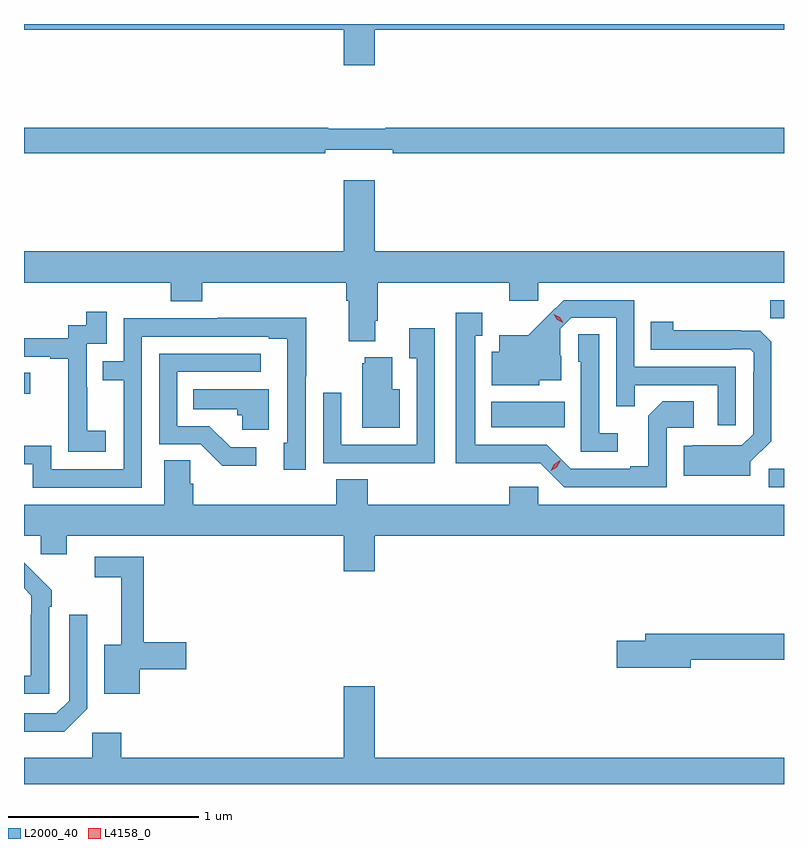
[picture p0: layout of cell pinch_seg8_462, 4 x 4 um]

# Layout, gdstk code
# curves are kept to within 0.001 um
import gdstk
lib = gdstk.Library(unit=1e-6, precision=1e-09)
def R(c, l, rs):  # rectangles x0, y0, x1, y1
    for r in rs: c.add(gdstk.rectangle(r[:2], r[2:], *l))
def P(c, l, *ps):  # polygons
    for p in ps: c.add(gdstk.Polygon(p, *l))
L2000_40 = (2000, 40)
L4158_0 = (4158, 0)

pinch_seg8_462 = lib.new_cell('pinch_seg8_462')
R(pinch_seg8_462, L2000_40, [(119.295,1134.072,119.374,1134.168), (117.833,1134.386,118.22,1134.52), (115.374,1134.563,115.408,1134.673), (119.302,1134.961,119.374,1135.056)])
P(pinch_seg8_462, L2000_40, [(117.22,1136.48),(119.374,1136.48),(119.374,1136.509),(115.374,1136.509),(115.374,1136.48),(117.056,1136.48),(117.056,1136.292),(117.22,1136.292)],
  [(116.96,1135.847),(117.316,1135.847),(117.316,1135.828),(119.374,1135.828),(119.374,1135.964),(117.275,1135.964),(117.275,1135.957),(116.975,1135.957),(116.975,1135.964),(115.374,1135.964),(115.374,1135.828),(116.96,1135.828)],
  [(117.223,1134.946),(117.236,1134.946),(117.236,1135.148),(117.929,1135.148),(117.929,1135.053),(118.08,1135.053),(118.08,1135.148),(119.374,1135.148),(119.374,1135.312),(117.22,1135.312),(117.22,1135.687),(117.056,1135.687),(117.056,1135.312),(115.374,1135.312),(115.374,1135.148),(116.147,1135.148),(116.147,1135.049),(116.312,1135.049),(116.312,1135.148),(117.071,1135.148),(117.071,1135.052),(117.083,1135.052),(117.083,1134.839),(117.223,1134.839)],
  [(119.121,1134.705),(118.587,1134.705),(118.587,1135.056),(118.214,1135.056),(118.027,1134.871),(117.875,1134.871),(117.875,1134.784),(117.836,1134.784),(117.836,1134.608),(118.086,1134.608),(118.086,1134.635),(118.201,1134.635),(118.201,1134.764),(118.197,1134.764),(118.197,1134.906),(118.254,1134.963),(118.491,1134.963),(118.491,1134.496),(118.589,1134.496),(118.589,1134.609),(119.025,1134.609),(119.025,1134.396),(119.121,1134.396)],
  [(115.804,1134.367),(115.706,1134.367),(115.706,1134.596),(115.704,1134.596),(115.704,1134.825),(115.809,1134.825),(115.809,1134.994),(115.701,1134.994),(115.701,1134.924),(115.608,1134.924),(115.608,1134.855),(115.374,1134.855),(115.374,1134.759),(115.511,1134.759),(115.511,1134.747),(115.607,1134.747),(115.607,1134.463),(115.606,1134.463),(115.606,1134.257),(115.804,1134.257)],
  [(118.758,1134.384),(118.9,1134.384),(118.9,1134.524),(118.735,1134.524),(118.659,1134.448),(118.659,1134.181),(118.565,1134.181),(118.565,1134.168),(118.251,1134.168),(118.125,1134.294),(117.748,1134.294),(117.748,1134.867),(117.787,1134.867),(117.787,1134.988),(117.647,1134.988),(117.647,1134.197),(118.092,1134.198),(118.218,1134.072),(118.758,1134.072)],
  [(115.995,1134.864),(116.663,1134.864),(116.663,1134.852),(116.76,1134.852),(116.76,1134.306),(116.741,1134.306),(116.741,1134.162),(116.856,1134.162),(116.856,1134.655),(116.859,1134.655),(116.859,1134.962),(116.395,1134.962),(116.395,1134.96),(115.899,1134.96),(115.899,1134.735),(115.789,1134.735),(115.789,1134.634),(115.899,1134.634),(115.899,1134.165),(115.518,1134.165),(115.518,1134.288),(115.374,1134.288),(115.374,1134.192),(115.421,1134.192),(115.421,1134.069),(115.995,1134.069)],
  [(119.197,1134.204),(119.307,1134.314),(119.307,1134.836),(119.248,1134.895),(118.791,1134.896),(118.791,1134.943),(118.672,1134.943),(118.672,1134.795),(119.096,1134.795),(119.096,1134.798),(119.196,1134.798),(119.214,1134.78),(119.214,1134.68),(119.211,1134.68),(119.211,1134.351),(119.151,1134.291),(118.894,1134.292),(118.891,1134.289),(118.847,1134.289),(118.847,1134.131),(119.197,1134.131)],
  [(117.537,1134.907),(117.401,1134.907),(117.401,1134.751),(117.441,1134.751),(117.441,1134.294),(117.045,1134.294),(117.045,1134.568),(116.949,1134.568),(116.949,1134.198),(117.265,1134.198),(117.265,1134.197),(117.537,1134.197)],
  [(118.498,1134.355),(118.401,1134.355),(118.401,1134.875),(118.29,1134.875),(118.29,1134.732),(118.305,1134.732),(118.305,1134.258),(118.498,1134.258)],
  [(116.596,1134.282),(116.461,1134.282),(116.35,1134.393),(116.181,1134.393),(116.181,1134.678),(116.62,1134.678),(116.62,1134.774),(116.085,1134.774),(116.085,1134.297),(116.304,1134.297),(116.417,1134.185),(116.596,1134.185)],
  [(117.352,1134.586),(117.313,1134.586),(117.313,1134.754),(117.167,1134.754),(117.167,1134.723),(117.155,1134.723),(117.155,1134.383),(117.352,1134.383)],
  [(116.662,1134.586),(116.266,1134.586),(116.266,1134.482),(116.497,1134.482),(116.497,1134.45),(116.523,1134.45),(116.523,1134.374),(116.662,1134.374)],
  [(117.22,1133.816),(119.374,1133.816),(119.374,1133.98),(118.08,1133.98),(118.08,1134.073),(117.929,1134.073),(117.929,1133.98),(117.182,1133.98),(117.182,1134.113),(117.017,1134.113),(117.017,1133.98),(116.264,1133.98),(116.264,1134.089),(116.25,1134.089),(116.25,1134.212),(116.111,1134.212),(116.111,1133.98),(115.374,1133.98),(115.374,1133.816),(115.461,1133.816),(115.461,1133.718),(115.6,1133.718),(115.6,1133.816),(117.056,1133.816),(117.056,1133.628),(117.22,1133.628)],
  [(115.984,1133.113),(116.227,1133.113),(116.227,1133.255),(116.003,1133.255),(116.003,1133.706),(115.746,1133.706),(115.746,1133.598),(115.886,1133.598),(115.886,1133.242),(115.796,1133.242),(115.796,1132.985),(115.984,1132.985)],
  [(115.506,1133.441),(115.521,1133.441),(115.521,1133.529),(115.416,1133.634),(115.415,1133.633),(115.374,1133.674),(115.374,1133.538),(115.413,1133.499),(115.413,1133.399),(115.41,1133.399),(115.41,1133.079),(115.374,1133.079),(115.374,1132.983),(115.506,1132.983)],
  [(115.707,1132.905),(115.707,1133.401),(115.611,1133.401),(115.611,1132.947),(115.545,1132.881),(115.374,1132.881),(115.374,1132.784),(115.586,1132.784)],
  [(118.882,1133.164),(119.374,1133.164),(119.374,1133.3),(118.643,1133.3),(118.643,1133.264),(118.494,1133.264),(118.494,1133.122),(118.882,1133.122)],
  [(119.374,1132.648),(117.22,1132.648),(117.22,1133.023),(117.056,1133.023),(117.056,1132.648),(115.886,1132.648),(115.886,1132.78),(115.734,1132.78),(115.734,1132.648),(115.374,1132.648),(115.374,1132.509),(119.374,1132.509)])
P(pinch_seg8_462, L4158_0, [(118.211,1134.937),(118.18,1134.952),(118.163,1134.981),(118.163,1134.981),(118.163,1134.981),(118.194,1134.966),(118.211,1134.937),(118.211,1134.937)],
  [(118.146,1134.159),(118.146,1134.159),(118.164,1134.191),(118.195,1134.21),(118.196,1134.21),(118.196,1134.209),(118.178,1134.177),(118.146,1134.159)])

lib.write_gds('pinch_seg8_462.gds')
